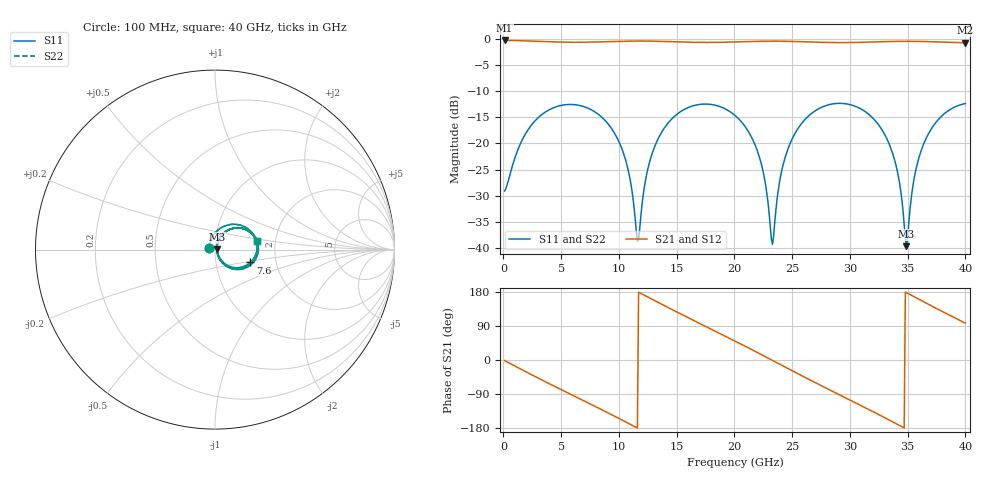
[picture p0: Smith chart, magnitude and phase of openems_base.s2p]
! thru_BV_ts_refinout2_in: 2×thru F.Cu, 8 mm
! stackup: as the board case
! ports: 1 near, 2 far
! openEMS 0.37.0, staircase, base mesh (dfine 0.035 mm), 978096 cells
# Hz S RI R 50
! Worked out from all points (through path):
!   400 points, 100 MHz to 40 GHz, reference 50 ohm
!   highest |S21| = -0.31 dB at 100 MHz (marker M1); lowest = -0.7 dB at 40 GHz (marker M2)
!   group delay of S21, straight-line fit = 43.2 ps
!   lowest |S11| = -39.6 dB at 34.9 GHz (marker M3), VSWR 1.02, Z = 51.1 + j0.0634 ohm
!   |S11| at or under -10 dB: start of sweep to end of sweep
!   |S22| runs from -39.6 to -12.3 dB; largest |S21 - S12| = 0
!   S11 on the Smith chart (normalised r, x): 100 MHz: 0.93, +0.01; 7.6 GHz: 1.47, -0.22; 40 GHz: 1.61, +0.16
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1e8  -0.0342 0.00752  0.965 -0.0271  0.965 -0.0271  -0.0342 0.00752
2.7e9  0.084 0.1395  0.6946 -0.6472  0.6946 -0.6472  0.084 0.1395
6.8e9  0.2256 -0.0313  -0.2423 -0.8954  -0.2423 -0.8954  0.2256 -0.0313
7.6e9  0.1975 -0.0713  -0.4252 -0.8277  -0.4252 -0.8277  0.1975 -0.0713
1.04e10  0.0425 -0.0681  -0.8943 -0.3173  -0.8943 -0.3173  0.0425 -0.0681
1.11e10  0.0189 -0.0319  -0.9416 -0.1397  -0.9416 -0.1397  0.0189 -0.0319
1.16e10  0.0115 -0.00175  -0.9528 -0.00798  -0.9528 -0.00798  0.0115 -0.00175
1.24e10  0.0177 0.0474  -0.9305 0.2024  -0.9305 0.2024  0.0177 0.0474
1.34e10  0.054 0.0972  -0.836 0.4471  -0.836 0.4471  0.054 0.0972
1.68e10  0.2285 0.0521  -0.1515 0.9138  -0.1515 0.9138  0.2285 0.0521
2.01e10  0.1507 -0.1042  0.6093 0.7089  0.6093 0.7089  0.1507 -0.1042
2.22e10  0.0342 -0.063  0.91 0.2671  0.91 0.2671  0.0342 -0.063
2.33e10  0.0107 0.00159  0.9507 -0.0205  0.9507 -0.0205  0.0107 0.00159
2.44e10  0.0288 0.0682  0.8976 -0.3065  0.8976 -0.3065  0.0288 0.0682
2.67e10  0.1551 0.1173  0.5338 -0.7648  0.5338 -0.7648  0.1551 0.1173
3e10  0.2312 -0.0432  -0.245 -0.8893  -0.245 -0.8893  0.2312 -0.0432
3.34e10  0.0519 -0.0841  -0.8767 -0.3488  -0.8767 -0.3488  0.0519 -0.0841
3.43e10  0.0183 -0.0374  -0.9398 -0.1195  -0.9398 -0.1195  0.0183 -0.0374
3.49e10  0.0104 0.000621  -0.9473 0.0404  -0.9473 0.0404  0.0104 0.000621
3.55e10  0.0156 0.0392  -0.9262 0.1992  -0.9262 0.1992  0.0156 0.0392
3.64e10  0.046 0.0885  -0.8433 0.4228  -0.8433 0.4228  0.046 0.0885
4e10  0.236 0.0483  -0.1139 0.9113  -0.1139 0.9113  0.236 0.0483
